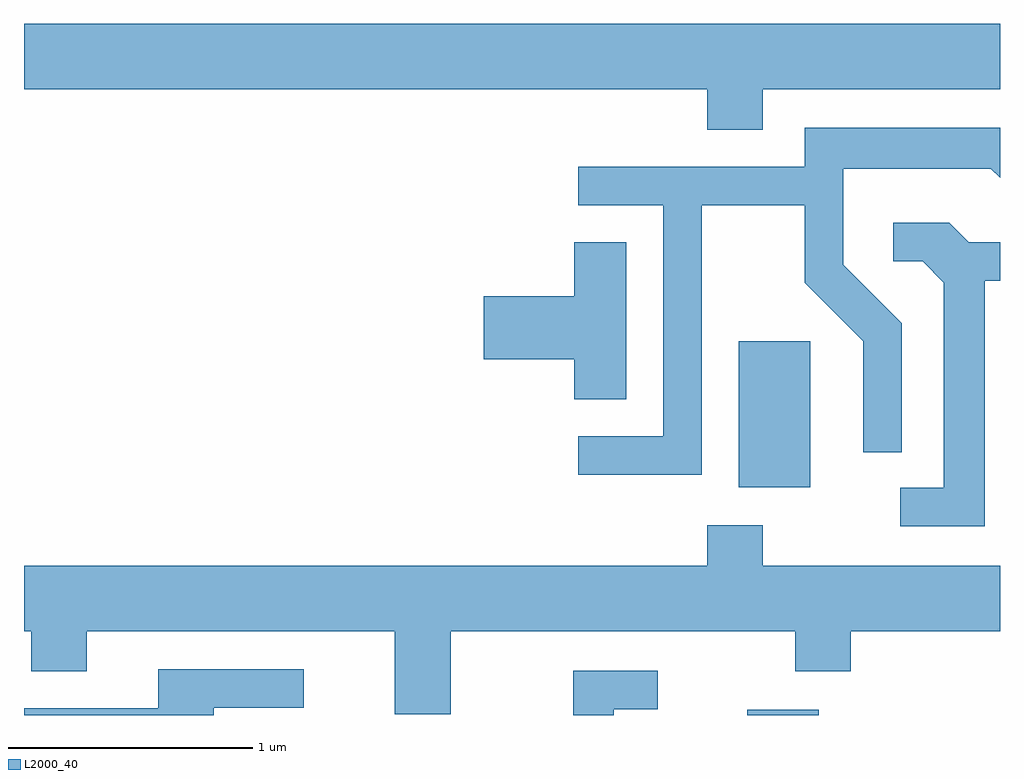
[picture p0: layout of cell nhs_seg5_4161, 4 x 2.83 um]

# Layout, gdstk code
import gdstk
lib = gdstk.Library(unit=1e-6, precision=1e-09)
def R(c, l, rs):  # rectangles x0, y0, x1, y1
    for r in rs: c.add(gdstk.rectangle(r[:2], r[2:], *l))
def P(c, l, *ps):  # polygons
    for p in ps: c.add(gdstk.Polygon(p, *l))
L2000_40 = (2000, 40)

nhs_seg5_4161 = lib.new_cell('nhs_seg5_4161')
R(nhs_seg5_4161, L2000_40, [(312.576,1392.072,312.869,1392.094), (312.541,1393.006,312.834,1393.604)])
P(nhs_seg5_4161, L2000_40, [(312.639,1394.636),(313.611,1394.636),(313.611,1394.904),(309.611,1394.904),(309.611,1394.636),(312.411,1394.636),(312.411,1394.471),(312.639,1394.471)],
  [(312.389,1394.161),(312.811,1394.161),(312.811,1393.844),(313.051,1393.604),(313.051,1393.148),(313.209,1393.148),(313.209,1393.677),(312.969,1393.917),(312.969,1394.311),(313.574,1394.311),(313.611,1394.274),(313.611,1394.479),(312.811,1394.479),(312.811,1394.319),(311.883,1394.319),(311.883,1394.161),(312.231,1394.161),(312.231,1393.214),(311.883,1393.214),(311.883,1393.056),(312.389,1393.056)],
  [(313.549,1393.851),(313.611,1393.851),(313.611,1394.009),(313.482,1394.009),(313.402,1394.089),(313.173,1394.089),(313.173,1393.931),(313.294,1393.931),(313.381,1393.844),(313.381,1393.004),(313.203,1393.004),(313.203,1392.846),(313.549,1392.846)],
  [(312.079,1394.009),(311.866,1394.009),(311.866,1393.789),(311.496,1393.789),(311.496,1393.531),(311.866,1393.531),(311.866,1393.366),(312.079,1393.366)],
  [(311.359,1392.416),(312.771,1392.416),(312.771,1392.251),(312.999,1392.251),(312.999,1392.416),(313.611,1392.416),(313.611,1392.684),(312.639,1392.684),(312.639,1392.849),(312.411,1392.849),(312.411,1392.684),(309.611,1392.684),(309.611,1392.416),(309.641,1392.416),(309.641,1392.251),(309.869,1392.251),(309.869,1392.416),(311.131,1392.416),(311.131,1392.076),(311.359,1392.076)],
  [(310.389,1392.101),(310.758,1392.101),(310.758,1392.259),(310.161,1392.259),(310.161,1392.099),(309.611,1392.099),(309.611,1392.072),(310.389,1392.072)],
  [(312.029,1392.096),(312.208,1392.096),(312.208,1392.254),(311.861,1392.254),(311.861,1392.072),(312.029,1392.072)])

lib.write_gds('nhs_seg5_4161.gds')
